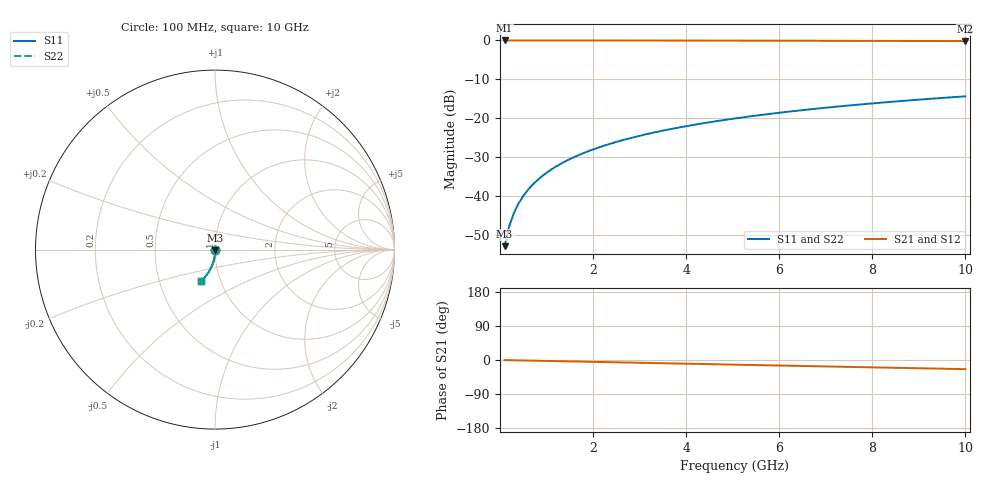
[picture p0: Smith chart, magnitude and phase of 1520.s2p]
# Hz S RI R 50.00
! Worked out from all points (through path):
!   100 points, 100 MHz to 10 GHz, reference 50 ohm
!   highest |S21| = -0.01 dB at 100 MHz (marker M1); lowest = -0.2 dB at 10 GHz (marker M2)
!   group delay of S21, straight-line fit = 6.72 ps
!   lowest |S11| = -52.9 dB at 100 MHz (marker M3), VSWR 1.00, Z = 50.1 - j0.2 ohm
!   |S11| at or under -10 dB: start of sweep to end of sweep
!   |S22| runs from -52.9 to -14.4 dB; largest |S21 - S12| = 0
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1e8  0.00109 -0.00199  0.9989 -0.00425  0.9989 -0.00425  0.00109 -0.00199
2e8  0.00107 -0.00399  0.9988 -0.00851  0.9988 -0.00851  0.00107 -0.00399
3e8  0.00103 -0.00598  0.9988 -0.0128  0.9988 -0.0128  0.00103 -0.00598
4e8  0.000973 -0.00797  0.9987 -0.017  0.9987 -0.017  0.000973 -0.00797
5e8  0.000898 -0.00996  0.9986 -0.0213  0.9986 -0.0213  0.000898 -0.00996
6e8  0.000805 -0.012  0.9985 -0.0255  0.9985 -0.0255  0.000805 -0.012
7e8  0.000695 -0.0139  0.9983 -0.0298  0.9983 -0.0298  0.000695 -0.0139
8e8  0.000568 -0.0159  0.9981 -0.034  0.9981 -0.034  0.000568 -0.0159
9e8  0.000424 -0.0179  0.9979 -0.0383  0.9979 -0.0383  0.000424 -0.0179
1.1e9  8.44e-05 -0.0219  0.9975 -0.0468  0.9975 -0.0468  8.44e-05 -0.0219
1.4e9  -0.000552 -0.0278  0.9966 -0.0595  0.9966 -0.0595  -0.000552 -0.0278
1.8e9  -0.00164 -0.0357  0.9952 -0.0764  0.9952 -0.0764  -0.00164 -0.0357
2.1e9  -0.00263 -0.0416  0.9939 -0.0891  0.9939 -0.0891  -0.00263 -0.0416
2.5e9  -0.00418 -0.0494  0.9919 -0.1059  0.9919 -0.1059  -0.00418 -0.0494
2.9e9  -0.00599 -0.0572  0.9895 -0.1227  0.9895 -0.1227  -0.00599 -0.0572
3.4e9  -0.00863 -0.0668  0.986 -0.1436  0.986 -0.1436  -0.00863 -0.0668
4.2e9  -0.0137 -0.0818  0.9794 -0.1768  0.9794 -0.1768  -0.0137 -0.0818
5.1e9  -0.0205 -0.0983  0.9703 -0.2136  0.9703 -0.2136  -0.0205 -0.0983
5.9e9  -0.0277 -0.1124  0.9609 -0.2458  0.9609 -0.2458  -0.0277 -0.1124
6.7e9  -0.0357 -0.126  0.9503 -0.2774  0.9503 -0.2774  -0.0357 -0.126
8.4e9  -0.0555 -0.1527  0.9237 -0.3426  0.9237 -0.3426  -0.0555 -0.1527
1e10  -0.0773 -0.1748  0.8941 -0.401  0.8941 -0.401  -0.0773 -0.1748
